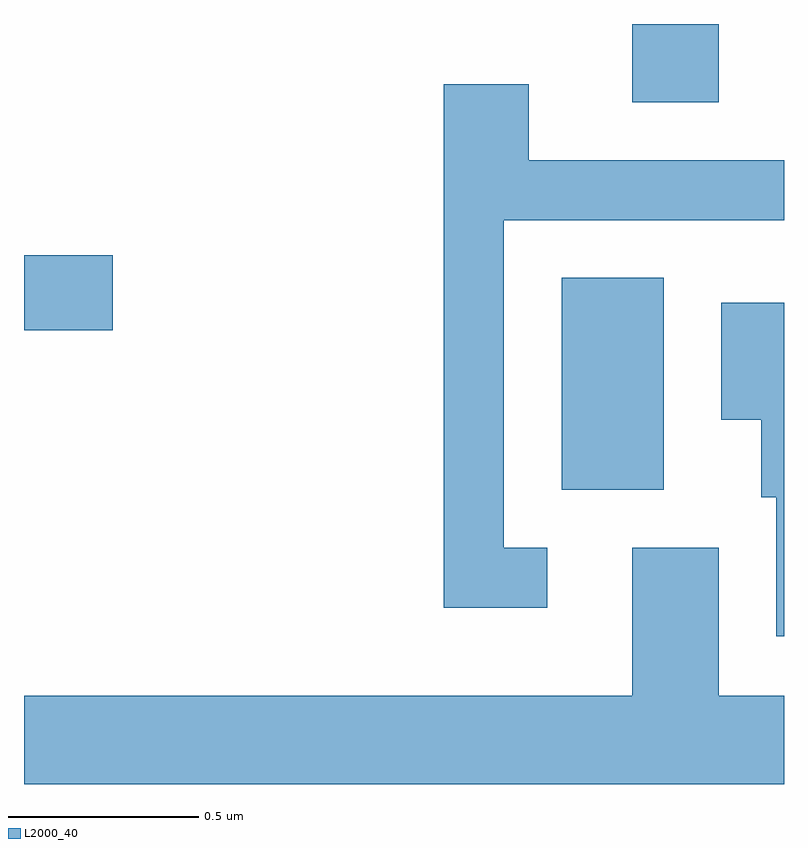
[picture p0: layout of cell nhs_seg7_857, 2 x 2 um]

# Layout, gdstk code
import gdstk
lib = gdstk.Library(unit=1e-6, precision=1e-09)
def R(c, l, rs):  # rectangles x0, y0, x1, y1
    for r in rs: c.add(gdstk.rectangle(r[:2], r[2:], *l))
def P(c, l, *ps):  # polygons
    for p in ps: c.add(gdstk.Polygon(p, *l))
L2000_40 = (2000, 40)

nhs_seg7_857 = lib.new_cell('nhs_seg7_857')
R(nhs_seg7_857, L2000_40, [(193.026,1704.026,193.294,1704.584), (191.611,1704.446,191.844,1704.644), (193.211,1705.046,193.439,1705.252)])
P(nhs_seg7_857, L2000_40, [(192.988,1703.874),(192.874,1703.874),(192.874,1704.736),(193.611,1704.736),(193.611,1704.894),(192.939,1704.894),(192.939,1705.094),(192.716,1705.094),(192.716,1703.716),(192.988,1703.716)],
  [(193.611,1704.519),(193.446,1704.519),(193.446,1704.211),(193.551,1704.211),(193.551,1704.006),(193.591,1704.006),(193.591,1703.641),(193.611,1703.641)],
  [(193.611,1703.484),(193.439,1703.484),(193.439,1703.874),(193.211,1703.874),(193.211,1703.484),(191.611,1703.484),(191.611,1703.252),(193.611,1703.252)])

lib.write_gds('nhs_seg7_857.gds')
